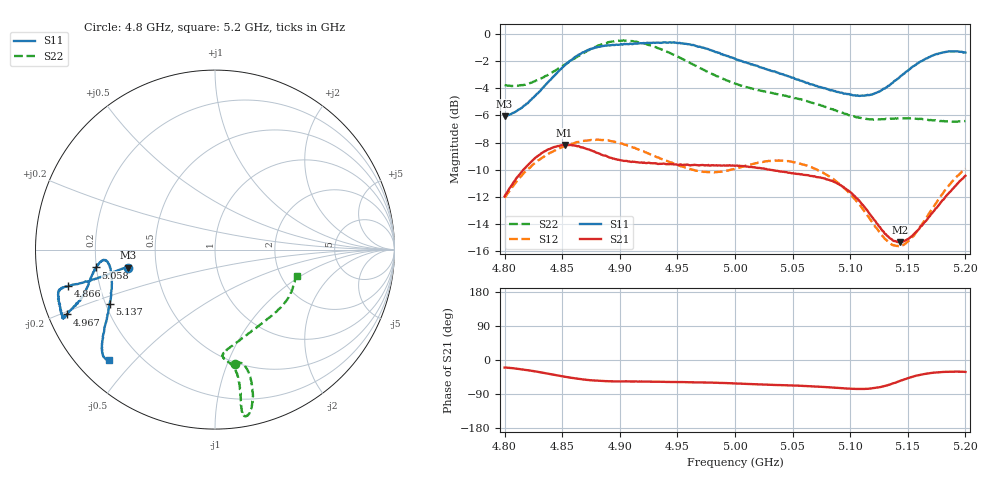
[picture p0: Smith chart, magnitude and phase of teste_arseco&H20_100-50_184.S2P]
! Network Analyzer HP8722D
! Hewlett-Packard
! Data name: Linha & Wilkinson
! Saver's name: Rodrigo Anjos
! Comments: Teste da utilização de aquisição
! continua pelo VNA HP8722D
! Time and date: 6/5/2025 14:06
!  Frequency  S11  S21  S12  S22
# HZ  S  MA R 50
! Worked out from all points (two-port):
!   401 points, 4.8 GHz to 5.2 GHz, reference 50 ohm
!   highest |S21| = -8.17 dB at 4.852 GHz (marker M1); lowest = -15.3 dB at 5.143 GHz (marker M2)
!   |S21| within 3 dB of the highest: 4.806 GHz to 5.092 GHz (286.6 MHz wide, 5.79 % of centre); 5.191439 GHz to end of sweep
!   lowest |S11| = -6.1 dB at 4.8 GHz (marker M3), VSWR 2.98, Z = 17 - j4.55 ohm
!   |S11| at or under -10 dB: nowhere
!   |S22| runs from -6.5 to -0.5 dB; largest |S21 - S12| = 0.62
!   S11 on the Smith chart (normalised r, x): 4.8 GHz: 0.34, -0.09; 4.866 GHz: 0.09, -0.12; 4.967 GHz: 0.05, -0.21; 5.058 GHz: 0.20, -0.07; 5.137 GHz: 0.22, -0.23; 5.2 GHz: 0.09, -0.42
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4.8e9  0.4971 -168.3  0.2527 -19.9  0.2496 -141.1  0.6487 -80.3
4.824e9  0.5787 -167.6  0.3417 -28.9  0.3288 -144.2  0.6631 -75.9
4.852e9  0.7643 -166.0  0.3903 -44.0  0.3863 -149.6  0.7699 -74.7
4.866e9  0.8442 -166.0  0.3826 -50.5  0.4019 -152.0  0.837 -75.4
4.867e9  0.8497 -166.0  0.3826 -51.0  0.4025 -152.2  0.8438 -75.4
4.898e9  0.9112 -163.0  0.3445 -56.3  0.398 -156.6  0.9428 -78.9
4.914e9  0.9196 -159.8  0.3376 -56.6  0.3786 -157.2  0.9366 -80.3
4.934e9  0.9267 -156.5  0.3326 -57.5  0.3506 -155.7  0.8821 -80.5
4.967e9  0.9 -156.3  0.3289 -58.9  0.3136 -148.1  0.7578 -79.8
5e9  0.8103 -159.3  0.3275 -61.9  0.3197 -137.3  0.6561 -81.3
5.032e9  0.7298 -164.9  0.3159 -65.7  0.3413 -134.3  0.6061 -85.3
5.058e9  0.6712 -171.5  0.3049 -68.2  0.3315 -136.2  0.573 -84.5
5.067e9  0.6512 -173.1  0.3 -69.3  0.3228 -136.9  0.5579 -82.6
5.082e9  0.6219 -174.7  0.2903 -72.1  0.2989 -138.3  0.532 -77.1
5.1e9  0.5971 -172.4  0.2621 -75.6  0.2578 -138.9  0.5016 -67.2
5.114e9  0.5939 -166.6  0.2264 -76.1  0.2175 -136.3  0.4866 -57.2
5.134e9  0.6455 -154.3  0.178 -65.2  0.1706 -120.7  0.4855 -43.4
5.137e9  0.6608 -152.5  0.1741 -62.1  0.1673 -116.8  0.4883 -41.4
5.143e9  0.6931 -149.3  0.1712 -55.7  0.166 -108.8  0.4886 -37.9
5.154e9  0.7563 -144.6  0.1812 -44.5  0.1792 -95.0  0.4874 -32.4
5.173e9  0.8368 -139.0  0.2241 -33.3  0.2335 -80.9  0.4806 -24.2
5.2e9  0.8531 -133.7  0.3007 -31.6  0.3195 -77.1  0.4783 -17.6
